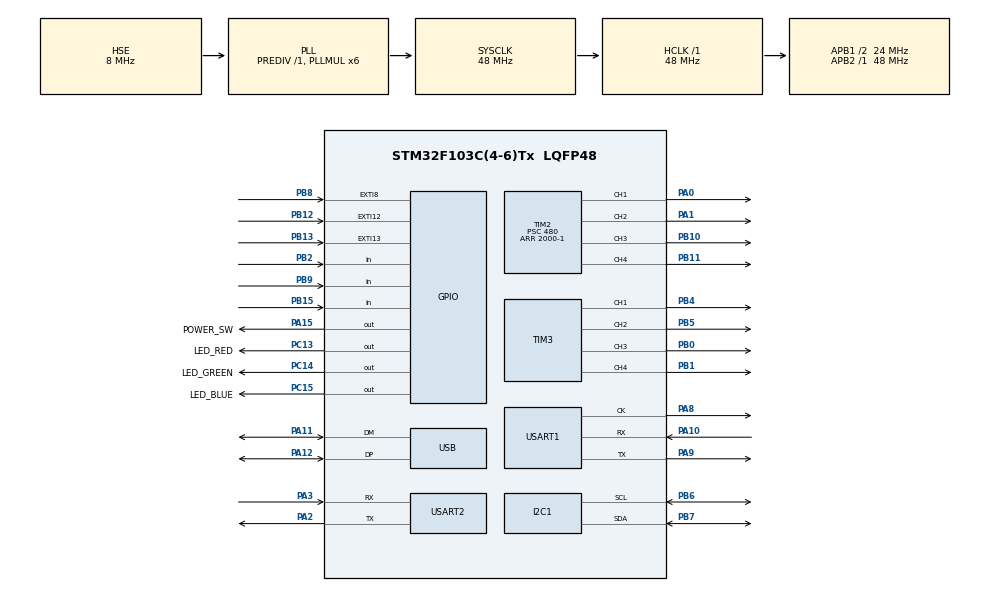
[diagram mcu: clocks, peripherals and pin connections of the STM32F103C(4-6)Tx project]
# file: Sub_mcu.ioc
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Mcu.Family=STM32F1
Mcu.Name=STM32F103C(4-6)Tx
Mcu.Package=LQFP48
NVIC.PriorityGroup=NVIC_PRIORITYGROUP_4
PA0-WKUP.Signal=S_TIM2_CH1_ETR
PA1.Signal=S_TIM2_CH2
PA10.Mode=Synchronous
PA10.Signal=USART1_RX
PA11.Mode=Device
PA11.Signal=USB_DM
PA12.Mode=Device
PA12.Signal=USB_DP
PA13.Mode=Trace_Asynchronous_SW
PA13.Signal=SYS_JTMS-SWDIO
PA14.Mode=Trace_Asynchronous_SW
PA14.Signal=SYS_JTCK-SWCLK
PA15.GPIO_Label=POWER_SW
PA15.Signal=GPIO_Output
PA2.Mode=Asynchronous
PA2.Signal=USART2_TX
PA3.Mode=Asynchronous
PA3.Signal=USART2_RX
PA8.Mode=Synchronous
PA8.Signal=USART1_CK
PA9.Mode=Synchronous
PA9.Signal=USART1_TX
PB0.Signal=S_TIM3_CH3
PB1.Signal=S_TIM3_CH4
PB10.Signal=S_TIM2_CH3
PB11.Signal=S_TIM2_CH4
PB12.Signal=GPXTI12
PB13.Signal=GPXTI13
PB15.Signal=GPIO_Input
PB2.Signal=GPIO_Input
PB3.Mode=Trace_Asynchronous_SW
PB3.Signal=SYS_JTDO-TRACESWO
PB4.Signal=S_TIM3_CH1
PB5.Signal=S_TIM3_CH2
PB6.Mode=I2C
PB6.Signal=I2C1_SCL
PB7.Mode=I2C
PB7.Signal=I2C1_SDA
PB8.Signal=GPXTI8
PB9.Signal=GPIO_Input
PC13-TAMPER-RTC.GPIO_Label=LED_RED
PC13-TAMPER-RTC.Signal=GPIO_Output
PC14-OSC32_IN.GPIO_Label=LED_GREEN
PC14-OSC32_IN.Signal=GPIO_Output
PC15-OSC32_OUT.GPIO_Label=LED_BLUE
PC15-OSC32_OUT.Signal=GPIO_Output
PD0-OSC_IN.Mode=HSE-External-Oscillator
PD0-OSC_IN.Signal=RCC_OSC_IN
PD1-OSC_OUT.Mode=HSE-External-Oscillator
PD1-OSC_OUT.Signal=RCC_OSC_OUT
ProjectManager.HeapSize=0x200
ProjectManager.StackSize=0x400
ProjectManager.TargetToolchain=STM32CubeIDE
RCC.AHBFreq_Value=48000000
RCC.APB1CLKDivider=RCC_HCLK_DIV2
RCC.APB1Freq_Value=24000000
RCC.APB1TimFreq_Value=48000000
RCC.APB2Freq_Value=48000000
RCC.APB2TimFreq_Value=48000000
RCC.HCLKFreq_Value=48000000
RCC.PLLMUL=RCC_PLL_MUL6
RCC.SYSCLKFreq_VALUE=48000000
RCC.SYSCLKSource=RCC_SYSCLKSOURCE_PLLCLK
RCC.USBFreq_Value=48000000
SH.S_TIM2_CH1_ETR.0=TIM2_CH1,PWM Generation1 CH1
SH.S_TIM2_CH2.0=TIM2_CH2,PWM Generation2 CH2
SH.S_TIM2_CH3.0=TIM2_CH3,PWM Generation3 CH3
SH.S_TIM2_CH4.0=TIM2_CH4,PWM Generation4 CH4
SH.S_TIM3_CH1.0=TIM3_CH1,PWM Generation1 CH1
SH.S_TIM3_CH2.0=TIM3_CH2,PWM Generation2 CH2
SH.S_TIM3_CH3.0=TIM3_CH3,PWM Generation3 CH3
SH.S_TIM3_CH4.0=TIM3_CH4,PWM Generation4 CH4
TIM2.Channel-PWM\ Generation1\ CH1=TIM_CHANNEL_1
TIM2.Channel-PWM\ Generation2\ CH2=TIM_CHANNEL_2
TIM2.Channel-PWM\ Generation3\ CH3=TIM_CHANNEL_3
TIM2.Channel-PWM\ Generation4\ CH4=TIM_CHANNEL_4
TIM2.Period=2000-1
TIM2.Prescaler=480
TIM3.Channel-PWM\ Generation1\ CH1=TIM_CHANNEL_1
TIM3.Channel-PWM\ Generation2\ CH2=TIM_CHANNEL_2
TIM3.Channel-PWM\ Generation3\ CH3=TIM_CHANNEL_3
TIM3.Channel-PWM\ Generation4\ CH4=TIM_CHANNEL_4
USART1.VirtualMode=VM_SYNC
USART2.VirtualMode=VM_ASYNC
board=custom

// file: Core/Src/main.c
/* USER CODE BEGIN Header */
/**
  ******************************************************************************
  * @file           : main.c
  * @brief          : Main program body
  ******************************************************************************
  * @attention
  *
  * Copyright (c) 2024 STMicroelectronics.
  * All rights reserved.
  *
  * This software is licensed under terms that can be found in the LICENSE file
  * in the root directory of this software component.
  * If no LICENSE file comes with this software, it is provided AS-IS.
  *
  ******************************************************************************
  */
/* USER CODE END Header */
#include "main.h"

I2C_HandleTypeDef hi2c1;

TIM_HandleTypeDef htim2;
TIM_HandleTypeDef htim3;

USART_HandleTypeDef husart1;
UART_HandleTypeDef huart2;

PCD_HandleTypeDef hpcd_USB_FS;

void SystemClock_Config(void);
static void MX_GPIO_Init(void);
static void MX_I2C1_Init(void);
static void MX_TIM2_Init(void);
static void MX_TIM3_Init(void);
static void MX_USART1_Init(void);
static void MX_USART2_UART_Init(void);
static void MX_USB_PCD_Init(void);

/* USER CODE BEGIN 0 */
int _write(int fd, char *ptr, int len){
	if (fd == 1){
		HAL_StatusTypeDef hstatus;
		//hstatus = HAL_UART_Transmit(&huart2, (uint8_t*), ptr, len, HAL_MAX_DELAY);
		if (hstatus == HAL_OK){
			return len;
		}
		else{
			return -1;
		}
	}
	else if (fd == 2){
		for (int i=0; i<len; i++){
			ITM_SendChar(ptr[i]);
		}
		return len;
	}
	else{
		return -1;
	}
	return -1;
}
/* USER CODE END 0 */

int main(void)
{

  /* MCU Configuration--------------------------------------------------------*/

  /* Reset of all peripherals, Initializes the Flash interface and the Systick. */
  HAL_Init();

  /* Configure the system clock */
  SystemClock_Config();

  /* Initialize all configured peripherals */
  MX_GPIO_Init();
  MX_I2C1_Init();
  MX_TIM2_Init();
  MX_TIM3_Init();
  MX_USART1_Init();
  MX_USART2_UART_Init();
  MX_USB_PCD_Init();
  /* USER CODE BEGIN 2 */
  HAL_TIM_PWM_Start(&htim2, TIM_CHANNEL_1);
  /* USER CODE END 2 */

  /* Infinite loop */
  /* USER CODE BEGIN WHILE */
    HAL_Delay(1500);
    HAL_GPIO_WritePin(POWER_SW_GPIO_Port, POWER_SW_Pin, 1);
    //user_pwm_setvalue1(148);
    HAL_Delay(0);
    int pwm = 55;
    int inc = 1;
    while (1)
    {
    	fprintf(2, "Test\n");
    	printf("Test2\n");
    	HAL_Delay(1000);
    	//user_pwm_setvalue1(55);
    	HAL_Delay(1000);
    	//user_pwm_setvalue1(148);
    	HAL_Delay(1000);
    	//user_pwm_setvalue1(240);
    	HAL_Delay(1000);
    	//user_pwm_setvalue1(148);
    	HAL_Delay(1000);
    	pwm += inc;
    	if(pwm == 230){
    		inc = -4;
    	}
    	if(pwm == 55){
    		inc = 4;
    	}
    	//HAL_Delay(500);
    	HAL_GPIO_WritePin(LED_RED_GPIO_Port, LED_RED_Pin, 1);
    	  	  HAL_GPIO_WritePin(LED_BLUE_GPIO_Port, LED_BLUE_Pin, 1);
    	  	HAL_GPIO_WritePin(LED_GREEN_GPIO_Port, LED_BLUE_Pin, 1);
    	  	  HAL_Delay(1000);
    	  	  HAL_GPIO_WritePin(LED_RED_GPIO_Port, LED_RED_Pin, 0);
    	  	  HAL_GPIO_WritePin(LED_BLUE_GPIO_Port, LED_BLUE_Pin, 0);
    	  	  HAL_GPIO_WritePin(LED_GREEN_GPIO_Port, LED_BLUE_Pin, 0);
    //HAL_Delay(10);*/
    /* USER CODE END WHILE */

    }
}

void SystemClock_Config(void)
{
  RCC_OscInitTypeDef RCC_OscInitStruct = {0};
  RCC_ClkInitTypeDef RCC_ClkInitStruct = {0};
  RCC_PeriphCLKInitTypeDef PeriphClkInit = {0};

  /** Initializes the RCC Oscillators according to the specified parameters
  * in the RCC_OscInitTypeDef structure.
  */
  RCC_OscInitStruct.OscillatorType = RCC_OSCILLATORTYPE_HSE;
  RCC_OscInitStruct.HSEState = RCC_HSE_ON;
  RCC_OscInitStruct.HSEPredivValue = RCC_HSE_PREDIV_DIV1;
  RCC_OscInitStruct.HSIState = RCC_HSI_ON;
  RCC_OscInitStruct.PLL.PLLState = RCC_PLL_ON;
  RCC_OscInitStruct.PLL.PLLSource = RCC_PLLSOURCE_HSE;
  RCC_OscInitStruct.PLL.PLLMUL = RCC_PLL_MUL6;
  if (HAL_RCC_OscConfig(&RCC_OscInitStruct) != HAL_OK)
  {
    Error_Handler();
  }

  /** Initializes the CPU, AHB and APB buses clocks
  */
  RCC_ClkInitStruct.ClockType = RCC_CLOCKTYPE_HCLK|RCC_CLOCKTYPE_SYSCLK
                              |RCC_CLOCKTYPE_PCLK1|RCC_CLOCKTYPE_PCLK2;
  RCC_ClkInitStruct.SYSCLKSource = RCC_SYSCLKSOURCE_PLLCLK;
  RCC_ClkInitStruct.AHBCLKDivider = RCC_SYSCLK_DIV1;
  RCC_ClkInitStruct.APB1CLKDivider = RCC_HCLK_DIV2;
  RCC_ClkInitStruct.APB2CLKDivider = RCC_HCLK_DIV1;

  if (HAL_RCC_ClockConfig(&RCC_ClkInitStruct, FLASH_LATENCY_1) != HAL_OK)
  {
    Error_Handler();
  }
  PeriphClkInit.PeriphClockSelection = RCC_PERIPHCLK_USB;
  PeriphClkInit.UsbClockSelection = RCC_USBCLKSOURCE_PLL;
  if (HAL_RCCEx_PeriphCLKConfig(&PeriphClkInit) != HAL_OK)
  {
    Error_Handler();
  }
}

static void MX_I2C1_Init(void)
{

  hi2c1.Instance = I2C1;
  hi2c1.Init.ClockSpeed = 100000;
  hi2c1.Init.DutyCycle = I2C_DUTYCYCLE_2;
  hi2c1.Init.OwnAddress1 = 0;
  hi2c1.Init.AddressingMode = I2C_ADDRESSINGMODE_7BIT;
  hi2c1.Init.DualAddressMode = I2C_DUALADDRESS_DISABLE;
  hi2c1.Init.OwnAddress2 = 0;
  hi2c1.Init.GeneralCallMode = I2C_GENERALCALL_DISABLE;
  hi2c1.Init.NoStretchMode = I2C_NOSTRETCH_DISABLE;
  if (HAL_I2C_Init(&hi2c1) != HAL_OK)
  {
    Error_Handler();
  }

}

static void MX_TIM2_Init(void)
{

  TIM_MasterConfigTypeDef sMasterConfig = {0};
  TIM_OC_InitTypeDef sConfigOC = {0};

  htim2.Instance = TIM2;
  htim2.Init.Prescaler = 480;
  htim2.Init.CounterMode = TIM_COUNTERMODE_UP;
  htim2.Init.Period = 2000-1;
  htim2.Init.ClockDivision = TIM_CLOCKDIVISION_DIV1;
  htim2.Init.AutoReloadPreload = TIM_AUTORELOAD_PRELOAD_DISABLE;
  if (HAL_TIM_PWM_Init(&htim2) != HAL_OK)
  {
    Error_Handler();
  }
  sMasterConfig.MasterOutputTrigger = TIM_TRGO_RESET;
  sMasterConfig.MasterSlaveMode = TIM_MASTERSLAVEMODE_DISABLE;
  if (HAL_TIMEx_MasterConfigSynchronization(&htim2, &sMasterConfig) != HAL_OK)
  {
    Error_Handler();
  }
  sConfigOC.OCMode = TIM_OCMODE_PWM1;
  sConfigOC.Pulse = 0;
  sConfigOC.OCPolarity = TIM_OCPOLARITY_HIGH;
  sConfigOC.OCFastMode = TIM_OCFAST_DISABLE;
  if (HAL_TIM_PWM_ConfigChannel(&htim2, &sConfigOC, TIM_CHANNEL_1) != HAL_OK)
  {
    Error_Handler();
  }
  if (HAL_TIM_PWM_ConfigChannel(&htim2, &sConfigOC, TIM_CHANNEL_2) != HAL_OK)
  {
    Error_Handler();
  }
  if (HAL_TIM_PWM_ConfigChannel(&htim2, &sConfigOC, TIM_CHANNEL_3) != HAL_OK)
  {
    Error_Handler();
  }
  if (HAL_TIM_PWM_ConfigChannel(&htim2, &sConfigOC, TIM_CHANNEL_4) != HAL_OK)
  {
    Error_Handler();
  }
  HAL_TIM_MspPostInit(&htim2);

}

static void MX_TIM3_Init(void)
{

  TIM_MasterConfigTypeDef sMasterConfig = {0};
  TIM_OC_InitTypeDef sConfigOC = {0};

  htim3.Instance = TIM3;
  htim3.Init.Prescaler = 0;
  htim3.Init.CounterMode = TIM_COUNTERMODE_UP;
  htim3.Init.Period = 65535;
  htim3.Init.ClockDivision = TIM_CLOCKDIVISION_DIV1;
  htim3.Init.AutoReloadPreload = TIM_AUTORELOAD_PRELOAD_DISABLE;
  if (HAL_TIM_PWM_Init(&htim3) != HAL_OK)
  {
    Error_Handler();
  }
  sMasterConfig.MasterOutputTrigger = TIM_TRGO_RESET;
  sMasterConfig.MasterSlaveMode = TIM_MASTERSLAVEMODE_DISABLE;
  if (HAL_TIMEx_MasterConfigSynchronization(&htim3, &sMasterConfig) != HAL_OK)
  {
    Error_Handler();
  }
  sConfigOC.OCMode = TIM_OCMODE_PWM1;
  sConfigOC.Pulse = 0;
  sConfigOC.OCPolarity = TIM_OCPOLARITY_HIGH;
  sConfigOC.OCFastMode = TIM_OCFAST_DISABLE;
  if (HAL_TIM_PWM_ConfigChannel(&htim3, &sConfigOC, TIM_CHANNEL_1) != HAL_OK)
  {
    Error_Handler();
  }
  if (HAL_TIM_PWM_ConfigChannel(&htim3, &sConfigOC, TIM_CHANNEL_2) != HAL_OK)
  {
    Error_Handler();
  }
  if (HAL_TIM_PWM_ConfigChannel(&htim3, &sConfigOC, TIM_CHANNEL_3) != HAL_OK)
  {
    Error_Handler();
  }
  if (HAL_TIM_PWM_ConfigChannel(&htim3, &sConfigOC, TIM_CHANNEL_4) != HAL_OK)
  {
    Error_Handler();
  }
  HAL_TIM_MspPostInit(&htim3);

}

static void MX_USART1_Init(void)
{

  husart1.Instance = USART1;
  husart1.Init.BaudRate = 115200;
  husart1.Init.WordLength = USART_WORDLENGTH_8B;
  husart1.Init.StopBits = USART_STOPBITS_1;
  husart1.Init.Parity = USART_PARITY_NONE;
  husart1.Init.Mode = USART_MODE_TX_RX;
  husart1.Init.CLKPolarity = USART_POLARITY_LOW;
  husart1.Init.CLKPhase = USART_PHASE_1EDGE;
  husart1.Init.CLKLastBit = USART_LASTBIT_DISABLE;
  if (HAL_USART_Init(&husart1) != HAL_OK)
  {
    Error_Handler();
  }

}

static void MX_USART2_UART_Init(void)
{

  huart2.Instance = USART2;
  huart2.Init.BaudRate = 115200;
  huart2.Init.WordLength = UART_WORDLENGTH_8B;
  huart2.Init.StopBits = UART_STOPBITS_1;
  huart2.Init.Parity = UART_PARITY_NONE;
  huart2.Init.Mode = UART_MODE_TX_RX;
  huart2.Init.HwFlowCtl = UART_HWCONTROL_NONE;
  huart2.Init.OverSampling = UART_OVERSAMPLING_16;
  if (HAL_UART_Init(&huart2) != HAL_OK)
  {
    Error_Handler();
  }

}

static void MX_USB_PCD_Init(void)
{

  hpcd_USB_FS.Instance = USB;
  hpcd_USB_FS.Init.dev_endpoints = 8;
  hpcd_USB_FS.Init.speed = PCD_SPEED_FULL;
  hpcd_USB_FS.Init.low_power_enable = DISABLE;
  hpcd_USB_FS.Init.lpm_enable = DISABLE;
  hpcd_USB_FS.Init.battery_charging_enable = DISABLE;
  if (HAL_PCD_Init(&hpcd_USB_FS) != HAL_OK)
  {
    Error_Handler();
  }

}

static void MX_GPIO_Init(void)
{
  GPIO_InitTypeDef GPIO_InitStruct = {0};

  /* GPIO Ports Clock Enable */
  __HAL_RCC_GPIOC_CLK_ENABLE();
  __HAL_RCC_GPIOD_CLK_ENABLE();
  __HAL_RCC_GPIOA_CLK_ENABLE();
  __HAL_RCC_GPIOB_CLK_ENABLE();

  /*Configure GPIO pin Output Level */
  HAL_GPIO_WritePin(GPIOC, LED_RED_Pin|LED_GREEN_Pin|LED_BLUE_Pin, GPIO_PIN_RESET);

  /*Configure GPIO pin Output Level */
  HAL_GPIO_WritePin(POWER_SW_GPIO_Port, POWER_SW_Pin, GPIO_PIN_RESET);

  /*Configure GPIO pins : LED_RED_Pin LED_GREEN_Pin LED_BLUE_Pin */
  GPIO_InitStruct.Pin = LED_RED_Pin|LED_GREEN_Pin|LED_BLUE_Pin;
  GPIO_InitStruct.Mode = GPIO_MODE_OUTPUT_PP;
  GPIO_InitStruct.Pull = GPIO_NOPULL;
  GPIO_InitStruct.Speed = GPIO_SPEED_FREQ_LOW;
  HAL_GPIO_Init(GPIOC, &GPIO_InitStruct);

  /*Configure GPIO pins : PB2 PB15 PB9 */
  GPIO_InitStruct.Pin = GPIO_PIN_2|GPIO_PIN_15|GPIO_PIN_9;
  GPIO_InitStruct.Mode = GPIO_MODE_INPUT;
  GPIO_InitStruct.Pull = GPIO_NOPULL;
  HAL_GPIO_Init(GPIOB, &GPIO_InitStruct);

  /*Configure GPIO pins : PB12 PB13 PB8 */
  GPIO_InitStruct.Pin = GPIO_PIN_12|GPIO_PIN_13|GPIO_PIN_8;
  GPIO_InitStruct.Mode = GPIO_MODE_IT_RISING;
  GPIO_InitStruct.Pull = GPIO_NOPULL;
  HAL_GPIO_Init(GPIOB, &GPIO_InitStruct);

  /*Configure GPIO pin : POWER_SW_Pin */
  GPIO_InitStruct.Pin = POWER_SW_Pin;
  GPIO_InitStruct.Mode = GPIO_MODE_OUTPUT_PP;
  GPIO_InitStruct.Pull = GPIO_NOPULL;
  GPIO_InitStruct.Speed = GPIO_SPEED_FREQ_LOW;
  HAL_GPIO_Init(POWER_SW_GPIO_Port, &GPIO_InitStruct);

}

/* USER CODE BEGIN 4 */

/*int __io_putchar(int ch)
{
    ITM_SendChar(ch);
    return (ch);
}*/

void user_pwm_setvalue1(uint16_t value)
{
    TIM_OC_InitTypeDef sConfigOC;

    sConfigOC.OCMode = TIM_OCMODE_PWM1;
    sConfigOC.Pulse = value;
    sConfigOC.OCPolarity = TIM_OCPOLARITY_HIGH;
    sConfigOC.OCFastMode = TIM_OCFAST_DISABLE;
    HAL_TIM_PWM_ConfigChannel(&htim2, &sConfigOC, TIM_CHANNEL_1);
    HAL_TIM_PWM_Start(&htim2, TIM_CHANNEL_1);
    HAL_TIM_PWM_ConfigChannel(&htim2, &sConfigOC, TIM_CHANNEL_2);
    HAL_TIM_PWM_Start(&htim2, TIM_CHANNEL_2);
    HAL_TIM_PWM_ConfigChannel(&htim2, &sConfigOC, TIM_CHANNEL_3);
    HAL_TIM_PWM_Start(&htim2, TIM_CHANNEL_3);
    HAL_TIM_PWM_ConfigChannel(&htim2, &sConfigOC, TIM_CHANNEL_4);
    HAL_TIM_PWM_Start(&htim2, TIM_CHANNEL_4);
}
/* USER CODE END 4 */

void Error_Handler(void)
{
  __disable_irq();
  while (1)
  {
  }
}
